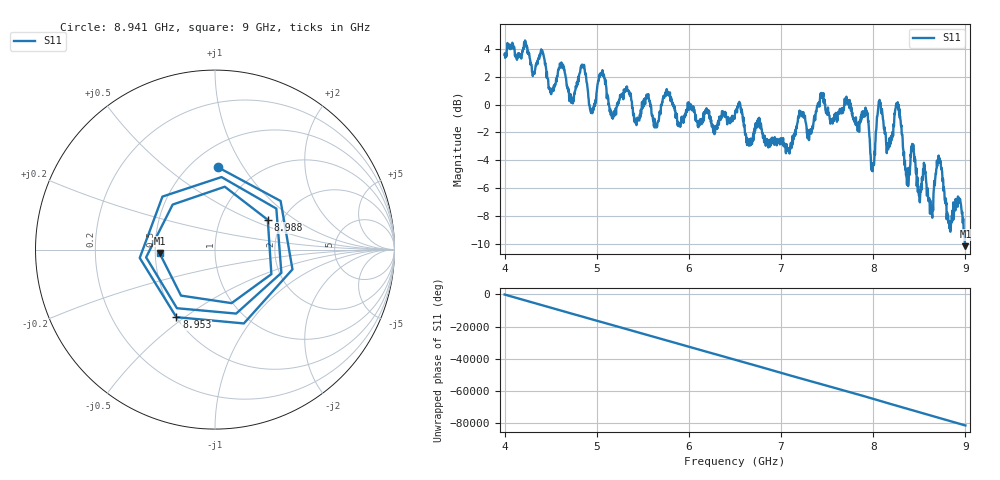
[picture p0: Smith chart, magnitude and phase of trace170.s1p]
! Created with skrf 1.8.0 (http://scikit-rf.org).
# Hz S RI R 50.0
!freq ReS11 ImS11
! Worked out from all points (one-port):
!   1601 points, 4 GHz to 9 GHz, reference 50 ohm
!   lowest |S11| = -10.2 dB at 9 GHz (marker M1), VSWR 1.90, Z = 26.4 - j1.12 ohm
!   |S11| at or under -10 dB: 8.9936 GHz to 8.995844 GHz (2.243 MHz wide, 0.0249 % of centre); 8.997812 GHz to end of sweep
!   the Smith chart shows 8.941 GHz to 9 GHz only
!   S11 on the Smith chart (normalised r, x): 8.941 GHz: 0.67, +0.78; 8.953 GHz: 0.50, -0.47; 8.988 GHz: 1.69, +0.63; 9 GHz: 0.53, -0.02
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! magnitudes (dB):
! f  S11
! 4 GHz  3.6
! 4.406 GHz  3.9
! 4.506 GHz  0.8
! 4.625 GHz  2.9
! 4.725 GHz  0.5
! 4.844 GHz  2.9
! 4.941 GHz  -0.5
! 5.05 GHz  2.2
! 5.25 GHz  0.4
! 5.875 GHz  -1.2
! 6.5 GHz  -0.7
! 7.125 GHz  -2.2
! 7.434 GHz  0.6
! 7.75 GHz  -0.2
! 7.922 GHz  -0.5
! 7.994 GHz  -4.8
! 8.062 GHz  0.2
! 8.166 GHz  -2.8
! 8.266 GHz  0.2
! 8.375 GHz  -4.6
! 8.431 GHz  -3.3
! 8.625 GHz  -7.7
! 8.716 GHz  -4.2
! 8.822 GHz  -8.4
! 8.941 GHz  -6.8
! 8.953 GHz  -7.3
! 8.988 GHz  -9.4
! 9 GHz  -10.2
